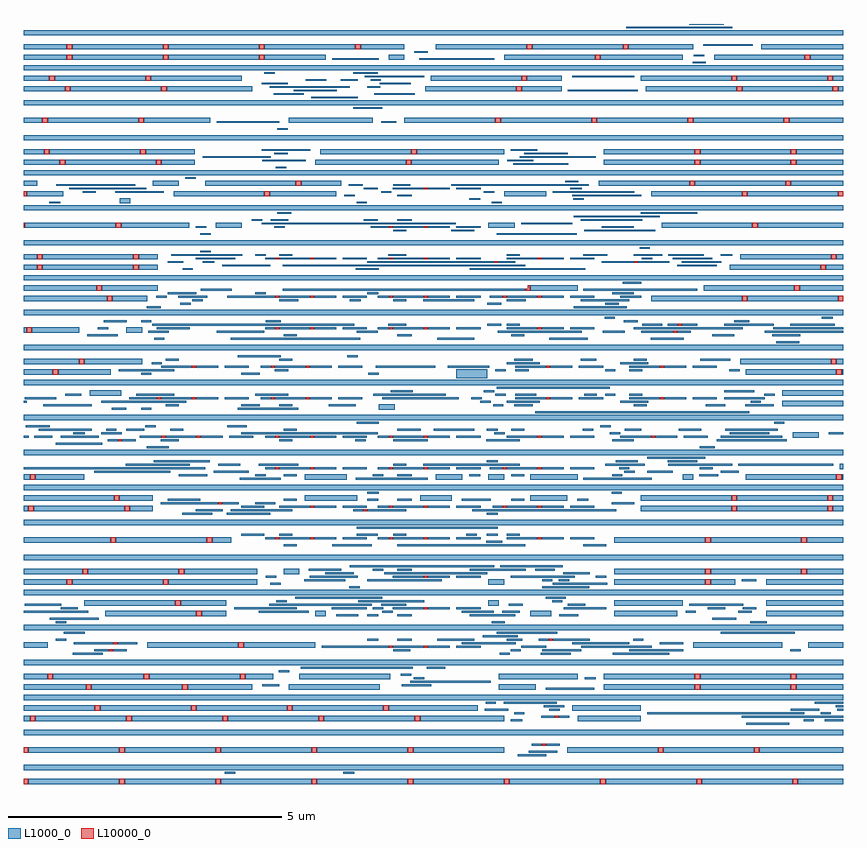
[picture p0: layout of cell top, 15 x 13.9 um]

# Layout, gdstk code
import gdstk
lib = gdstk.Library(unit=1e-6, precision=1e-09)
def R(c, l, rs):  # rectangles x0, y0, x1, y1
    for r in rs: c.add(gdstk.rectangle(r[:2], r[2:], *l))
def A(c, l, x, y, w, h, nx, ny, dx, dy):  # array of equal rectangles
    R(c, l, [(x+i*dx, y+j*dy, x+i*dx+w, y+j*dy+h) for i in range(nx) for j in range(ny)])
def P(c, l, *ps):  # polygons
    for p in ps: c.add(gdstk.Polygon(p, *l))
L1000_0 = (1000, 0)
L10000_0 = (10000, 0)

top = lib.new_cell('top')
A(top, L1000_0, 129.088, 262.096, 1.664, 0.02, 8, 1, 1.76, 0)
A(top, L1000_0, 129.088, 262.116, 1.664, 0.076, 8, 1, 1.76, 0)
A(top, L1000_0, 129, 262.352, 15, 0.096, 1, 22, 0, 0.64)
A(top, L1000_0, 129.088, 262.672, 1.664, 0.096, 5, 1, 1.76, 0)
A(top, L1000_0, 129.216, 263.248, 1.664, 0.096, 4, 1, 1.76, 0)
A(top, L1000_0, 130.4, 263.44, 1.664, 0.096, 3, 1, 1.76, 0)
A(top, L1000_0, 133.679, 266.576, 0.562, 0.032, 3, 2, 2.08, 0.576)
A(top, L1000_0, 134.319, 266.576, 0.402, 0.032, 3, 2, 2.08, 0.576)
A(top, L1000_0, 134.839, 266.576, 0.442, 0.032, 3, 2, 2.08, 0.576)
A(top, L1000_0, 133.68, 266.64, 0.24, 0.032, 3, 1, 2.08, 0)
A(top, L1000_0, 133.679, 267.856, 0.562, 0.032, 3, 2, 2.08, 2.56)
A(top, L1000_0, 134.319, 267.856, 0.402, 0.032, 3, 2, 2.08, 2.56)
A(top, L1000_0, 134.839, 267.856, 0.442, 0.032, 3, 2, 2.08, 2.56)
A(top, L1000_0, 131.599, 268.432, 0.562, 0.032, 5, 1, 2.08, 0)
A(top, L1000_0, 132.239, 268.432, 0.402, 0.032, 5, 1, 2.08, 0)
A(top, L1000_0, 132.759, 268.432, 0.442, 0.032, 5, 1, 2.08, 0)
A(top, L1000_0, 133.679, 270.992, 0.562, 0.032, 3, 2, 2.08, 0.704)
A(top, L1000_0, 134.319, 270.992, 0.402, 0.032, 3, 2, 2.08, 0.704)
A(top, L1000_0, 134.839, 270.992, 0.442, 0.032, 3, 2, 2.08, 0.704)
A(top, L1000_0, 135.968, 274.192, 1.664, 0.096, 4, 1, 1.76, 0)
A(top, L1000_0, 129.888, 275.536, 1.664, 0.096, 3, 1, 1.76, 0)
R(top, L1000_0, [(143.168,262.096,144,262.116), (143.168,262.116,144,262.192), (132.685,262.288,132.873,262.32), (134.845,262.288,135.049,262.32), (138.039,262.608,138.561,262.64), (138.239,262.672,138.761,262.704), (138.944,262.672,140.608,262.768), (140.704,262.672,142.368,262.768), (142.464,262.672,144,262.768), (138.295,262.8,138.483,262.832), (138.559,262.8,138.809,262.832), (142.221,263.184,143.009,263.216), (129,263.248,129.12,263.344), (136.256,263.248,137.792,263.344), (137.911,263.248,138.121,263.28), (139.136,263.248,140.288,263.344), (143.271,263.248,143.459,263.28), (143.661,263.248,144,263.28), (138.471,263.312,138.721,263.344), (138.791,263.312,138.979,263.344), (142.141,263.312,144,263.344), (137.975,263.376,138.163,263.408), (140.407,263.376,143.281,263.408), (143.581,263.376,143.769,263.408), (129,263.44,130.304,263.536), (135.68,263.44,137.312,263.536), (137.439,263.44,137.865,263.472), (138.615,263.44,138.809,263.472), (139.04,263.44,140.288,263.536), (143.039,263.44,143.561,263.472), (143.885,263.44,144,263.472), (138.519,263.504,138.889,263.536), (143.863,263.504,144,263.536), (137.455,263.568,137.643,263.6), (137.783,263.568,138.756,263.6), (143.479,263.568,144,263.6), (129,263.824,130.144,263.92), (130.24,263.824,131.904,263.92), (132,263.824,133.184,263.92), (133.856,263.824,135.52,263.92), (137.696,263.824,138.368,263.92), (138.551,263.824,139.441,263.856), (139.616,263.824,141.28,263.92), (141.376,263.824,143.04,263.92), (143.136,263.824,144,263.92), (133.367,263.888,133.681,263.92), (135.919,263.888,136.457,263.92), (136.079,263.952,137.545,263.984), (129,264.016,129.44,264.112), (129.536,264.016,131.2,264.112), (131.296,264.016,132.96,264.112), (133.056,264.016,133.568,264.112), (134.048,264.016,135.712,264.112), (136.141,264.016,136.329,264.048), (137.696,264.016,139.136,264.112), (139.271,264.016,139.465,264.048), (139.616,264.016,141.28,264.112), (141.376,264.016,143.04,264.112), (143.136,264.016,144,264.112), (135.901,264.08,136.089,264.112), (133.671,264.144,133.859,264.176), (134.071,264.208,136.116,264.24), (136.375,264.208,136.713,264.24), (129.901,264.464,130.449,264.496), (137.711,264.464,137.899,264.496), (138.461,264.464,139.009,264.496), (139.781,264.464,140.809,264.496), (130.295,264.528,130.561,264.56), (130.639,264.528,130.889,264.56), (135.76,264.528,136.073,264.56), (137.911,264.528,138.099,264.56), (138.487,264.528,139.201,264.56), (140.079,264.528,141.065,264.56), (143.031,264.528,143.219,264.56), (129,264.592,129.44,264.688), (131.264,264.592,132.928,264.688), (133.024,264.592,134.336,264.688), (134.455,264.592,135.681,264.624), (135.759,264.592,136.321,264.624), (136.399,264.592,136.801,264.624), (136.919,264.592,137.361,264.624), (138.103,264.592,138.561,264.624), (139.199,264.592,140.489,264.624), (141.248,264.592,142.88,264.688), (143.36,264.592,144,264.688), (129.919,264.656,130.641,264.688), (130.719,264.656,131.081,264.688), (137.015,264.656,138.001,264.688), (139.039,264.656,140.081,264.688), (140.639,264.656,141.065,264.688), (129.591,264.72,129.779,264.752), (135.287,264.72,135.489,264.752), (135.84,264.72,136.105,264.752), (136.567,264.72,137.241,264.752), (137.839,264.72,138.121,264.752), (138.421,264.72,138.609,264.752), (138.679,264.72,139.361,264.752), (140.151,264.72,140.339,264.752), (137.399,264.784,138.039,264.816), (129.733,264.848,130.121,264.88), (137.655,264.848,138.761,264.88), (141.751,264.848,143.113,264.88), (129.591,265.04,129.779,265.072), (137.565,265.04,137.801,265.072), (142.293,265.04,142.601,265.072), (129.479,265.104,130.377,265.136), (141.599,265.104,142.041,265.136), (130.496,265.168,132.16,265.264), (132.256,265.168,132.704,265.264), (134.336,265.168,134.528,265.264), (134.719,265.168,135.121,265.2), (135.287,265.168,135.489,265.2), (135.84,265.168,136.105,265.2), (137.159,265.168,137.993,265.2), (138.272,265.168,138.656,265.264), (138.799,265.168,139.145,265.2), (139.808,265.168,140.96,265.264), (142.592,265.168,144,265.264), (129,265.232,130.185,265.264), (133.303,265.232,134.217,265.264), (135.565,265.232,135.753,265.264), (137.015,265.232,137.601,265.264), (137.759,265.232,138.081,265.264), (141.111,265.232,141.299,265.264), (142.071,265.232,142.321,265.264), (129.679,265.296,129.993,265.328), (132.855,265.296,134.001,265.328), (134.639,265.296,135.281,265.328), (135.391,265.296,135.579,265.328), (135.759,265.296,136.321,265.328), (136.399,265.296,136.801,265.328), (136.919,265.296,137.361,265.328), (138.879,265.296,139.657,265.328), (141.519,265.296,141.833,265.328), (142.159,265.296,142.409,265.328), (129.021,265.36,129.689,265.392), (130.112,265.36,131.776,265.456), (131.872,265.36,132.704,265.456), (133.495,265.36,135.369,265.392), (135.543,265.36,136,265.392), (137.504,265.36,137.696,265.456), (137.879,265.36,138.129,265.392), (138.959,265.36,139.273,265.392), (139.808,265.36,141.056,265.456), (141.181,265.36,142.169,265.392), (142.592,265.36,144,265.456), (133.623,265.424,133.811,265.456), (135.119,265.424,136.329,265.456), (138.671,265.424,138.859,265.456), (133.973,265.488,135.561,265.52), (138.551,265.488,138.916,265.52), (134.959,265.68,135.147,265.712), (138.487,265.68,139.353,265.712), (129,265.744,129.792,265.84), (129.888,265.744,131.552,265.84), (131.648,265.744,133.28,265.84), (133.511,265.744,133.705,265.776), (137.504,265.744,137.792,265.84), (138.679,265.744,139.681,265.776), (139.808,265.744,141.472,265.84), (141.568,265.744,142.016,265.84), (142.592,265.744,144,265.84), (134.135,265.808,134.881,265.84), (135.287,265.808,136.649,265.84), (138.487,265.808,138.675,265.84), (138.791,265.808,138.979,265.84), (142.135,265.808,142.409,265.84), (133.431,265.872,133.619,265.904), (134.239,265.872,135.113,265.904), (135.759,265.872,136.321,265.904), (136.399,265.872,136.801,265.904), (136.919,265.872,137.361,265.904), (137.911,265.872,139.081,265.904), (139.469,265.872,139.657,265.904), (129,265.936,130.08,266.032), (130.176,265.936,131.84,266.032), (131.936,265.936,133.28,266.032), (133.76,265.936,134.048,266.032), (134.519,265.936,135.041,265.968), (135.599,265.936,137.481,265.968), (138.871,265.936,139.361,265.968), (139.808,265.936,141.472,266.032), (141.568,265.936,143.232,266.032), (143.328,265.936,144,266.032), (134.221,266,134.809,266.032), (135.391,266,135.579,266.032), (135.84,266,136.105,266.032), (137.159,266,138.185,266.032), (138.359,266,138.721,266.032), (134.967,266.064,137.609,266.096), (137.719,266.064,138.864,266.096), (133.76,266.448,134,266.48), (134.647,266.448,135.369,266.48), (135.84,266.448,138.176,266.48), (139.239,266.448,139.657,266.48), (129,266.512,130.592,266.608), (130.688,266.512,132.352,266.608), (132.448,266.512,132.8,266.608), (137.463,266.512,137.761,266.544), (139.808,266.512,141.472,266.608), (141.568,266.512,143.232,266.608), (143.328,266.512,144,266.608), (133.421,266.576,133.609,266.608), (135.479,266.576,135.689,266.608), (132.983,266.64,133.401,266.672), (135.095,266.64,135.481,266.672), (137.101,266.64,137.289,266.672), (137.471,266.64,137.673,266.672), (135.095,266.768,137.673,266.8), (131.901,267.024,132.449,267.056), (132.719,267.024,133.513,267.056), (137.471,267.024,137.673,267.056), (129,267.088,129.088,267.184), (129.184,267.088,130.848,267.184), (130.944,267.088,131.36,267.184), (132.151,267.088,132.641,267.12), (132.791,267.088,133.92,267.12), (135.029,267.088,135.217,267.12), (135.287,267.088,136,267.12), (137.207,267.088,139.841,267.12), (140.288,267.088,141.952,267.184), (142.048,267.088,143.712,267.184), (143.808,267.088,144,267.184), (132.983,267.152,133.401,267.184), (135.479,267.152,135.689,267.184), (137.581,267.152,137.769,267.184), (131.511,267.216,132.561,267.248), (132.639,267.216,132.937,267.248), (133.239,267.216,133.601,267.248), (139.759,267.216,140.169,267.248), (129,267.28,130.656,267.376), (130.752,267.28,131.36,267.376), (131.639,267.28,132.233,267.312), (133.76,267.28,134,267.312), (134.144,267.28,135.104,267.376), (135.287,267.28,135.489,267.312), (135.84,267.28,136.105,267.312), (136.256,267.28,136.832,267.376), (137.015,267.28,137.545,267.312), (137.92,267.28,138.16,267.312), (138.272,267.28,138.944,267.376), (139.127,267.28,139.329,267.312), (140.288,267.28,141.952,267.376), (142.048,267.28,143.712,267.376), (143.808,267.28,144,267.376), (135.287,267.408,135.497,267.44), (139.759,267.408,139.947,267.44), (129,267.664,129.12,267.76), (129.216,267.664,130.112,267.76), (132.959,267.664,133.705,267.696), (134.144,267.664,134.912,267.76), (135.079,267.664,136.393,267.696), (136.544,267.664,137.024,267.76), (137.504,267.664,137.792,267.76), (138.272,267.664,139.136,267.76), (139.239,267.664,140.489,267.696), (141.056,267.664,141.248,267.76), (142.208,267.664,143.872,267.76), (143.968,267.664,144,267.76), (131.839,267.728,132.361,267.76), (133.239,267.728,133.427,267.76), (133.76,267.728,134,267.76), (135.391,267.728,135.579,267.76), (135.84,267.728,136.105,267.76), (137.151,267.728,137.353,267.76), (137.92,267.728,138.16,267.76), (139.767,267.728,139.955,267.76), (141.359,267.728,141.705,267.76), (130.295,267.792,131.681,267.824), (132.479,267.792,133.121,267.824), (139.991,267.792,140.179,267.824), (140.407,267.792,140.881,267.824), (141.751,267.792,142.081,267.824), (129,267.856,132.321,267.888), (133.421,267.856,133.609,267.888), (135.479,267.856,135.689,267.888), (137.527,267.856,137.769,267.888), (139.895,267.856,140.083,267.888), (141.367,267.856,141.609,267.888), (143.936,267.856,144,267.952), (130.871,267.92,132.041,267.952), (132.559,267.92,132.961,267.952), (133.303,267.92,134.025,267.952), (135.76,267.92,136,267.952), (136.311,267.92,138.08,267.952), (139.639,267.92,140.361,267.952), (140.791,267.92,141.961,267.952), (142.079,267.92,143.817,267.952), (131.381,267.984,132.409,268.016), (137.471,267.984,137.673,268.016), (139.831,267.984,140.241,268.016), (140.781,267.984,141.329,268.016), (140.407,268.048,141.476,268.08), (131.255,268.24,131.657,268.272), (141.367,268.24,141.641,268.272), (129.591,268.304,130.441,268.336), (130.541,268.368,130.729,268.4), (130.799,268.368,131.049,268.4), (131.511,268.368,131.84,268.4), (133.68,268.368,133.92,268.4), (135.071,268.368,135.259,268.4), (135.76,268.368,136.393,268.4), (137.463,268.368,138.08,268.4), (139.767,268.368,140.16,268.4), (141.679,268.368,142.961,268.4), (129,268.432,129.097,268.464), (129.199,268.432,129.521,268.464), (129.679,268.432,130.377,268.464), (131.127,268.432,131.521,268.464), (133.421,268.432,133.609,268.464), (135.479,268.432,135.689,268.464), (141.759,268.432,142.881,268.464), (143.072,268.432,143.552,268.528), (129.911,268.496,130.121,268.528), (130.423,268.496,130.801,268.528), (132.983,268.496,135.481,268.528), (137.613,268.496,137.801,268.528), (139.725,268.496,139.913,268.528), (141.919,268.496,142.641,268.528), (143.735,268.496,144,268.528), (129.279,268.56,130.249,268.592), (130.509,268.56,130.697,268.592), (130.879,268.56,131.209,268.592), (131.68,268.56,131.92,268.592), (133.76,268.56,134,268.592), (135.84,268.56,136.265,268.592), (136.503,268.56,137.241,268.592), (137.471,268.56,137.673,268.592), (137.92,268.56,138.16,268.592), (139.231,268.56,139.419,268.592), (140,268.56,140.297,268.592), (140.983,268.56,141.401,268.592), (141.839,268.56,142.801,268.592), (129.039,268.624,129.481,268.656), (131.231,268.624,131.419,268.656), (132.727,268.624,133.081,268.656), (139.551,268.624,139.739,268.656), (135.095,268.688,135.497,268.72), (142.733,268.688,142.921,268.72), (138.359,268.88,142.281,268.912), (130.615,268.944,130.881,268.976), (131.151,268.944,131.339,268.976), (132.919,268.944,134.025,268.976), (135.496,268.944,135.792,269.04), (129.359,269.008,130.249,269.04), (131.6,269.008,131.84,269.04), (132.983,269.008,133.321,269.04), (133.68,269.008,133.92,269.04), (134.583,269.008,135.081,269.04), (137.591,269.008,137.779,269.04), (137.975,269.008,138.32,269.04), (140.16,269.008,140.4,269.04), (141.479,269.008,141.833,269.04), (142.199,269.008,142.721,269.04), (142.88,269.008,144,269.104), (129,269.072,129.059,269.104), (130.423,269.072,131.977,269.104), (137.351,269.072,137.545,269.104), (137.839,269.072,138.441,269.104), (139.919,269.072,140.425,269.104), (142.301,269.072,142.489,269.104), (129.021,269.136,129.601,269.168), (130.935,269.136,131.441,269.168), (131.519,269.136,132.081,269.168), (132.159,269.136,132.561,269.168), (132.679,269.136,133.121,269.168), (133.341,269.136,133.529,269.168), (133.599,269.136,134.161,269.168), (134.239,269.136,134.641,269.168), (134.759,269.136,135.201,269.168), (135.558,269.136,136.961,269.168), (137.191,269.136,137.379,269.168), (137.999,269.136,138.561,269.168), (138.639,269.136,139.041,269.168), (139.159,269.136,139.601,269.168), (140.079,269.136,140.641,269.168), (140.719,269.136,141.121,269.168), (141.239,269.136,141.681,269.168), (141.815,269.136,142.561,269.168), (129.759,269.2,130.057,269.232), (130.208,269.2,130.784,269.296), (131.063,269.2,131.76,269.232), (133.239,269.2,133.84,269.232), (135.399,269.2,136.721,269.232), (137.631,269.2,137.819,269.232), (138,269.2,138.377,269.232), (139.255,269.2,139.489,269.232), (139.639,269.2,139.827,269.232), (140.08,269.2,140.32,269.232), (142.551,269.2,142.739,269.232), (142.88,269.2,144,269.296), (135.719,269.264,136.121,269.296), (137.421,269.264,137.609,269.296), (141.821,269.264,142.369,269.296), (137.655,269.328,139.721,269.36), (136.92,269.52,137.479,269.68), (129,269.584,129.536,269.68), (129.632,269.584,130.592,269.68), (131.149,269.584,131.337,269.616), (132.983,269.584,133.321,269.616), (135.309,269.584,135.497,269.616), (142.208,269.584,143.872,269.68), (143.968,269.584,144,269.68), (130.743,269.648,131.76,269.68), (133.6,269.648,133.84,269.68), (137.631,269.648,137.819,269.68), (138,269.648,138.24,269.68), (139.639,269.648,139.827,269.68), (140.08,269.648,140.32,269.68), (141.911,269.648,142.099,269.68), (131.519,269.712,132.081,269.744), (132.159,269.712,132.561,269.744), (132.679,269.712,133.121,269.744), (133.341,269.712,133.529,269.744), (133.599,269.712,134.161,269.744), (134.239,269.712,134.641,269.744), (134.759,269.712,135.201,269.744), (135.439,269.712,136.528,269.744), (136.758,269.712,137.521,269.744), (137.999,269.712,138.561,269.744), (138.639,269.712,139.041,269.744), (139.159,269.712,139.601,269.744), (140.079,269.712,140.641,269.744), (140.719,269.712,141.121,269.744), (141.239,269.712,141.681,269.744), (129,269.776,130.016,269.872), (130.112,269.776,131.168,269.872), (131.341,269.776,131.529,269.808), (137.839,269.776,138.441,269.808), (139.919,269.776,140.425,269.808), (142.112,269.776,143.776,269.872), (143.872,269.776,144,269.872), (131.6,269.84,131.84,269.872), (133.68,269.84,133.92,269.872), (137.975,269.84,138.32,269.872), (139.191,269.84,139.481,269.872), (140.16,269.84,140.4,269.872), (141.381,269.84,141.929,269.872), (132.919,269.904,133.705,269.936), (134.925,269.904,135.113,269.936), (142.775,270.16,143.193,270.192), (131.389,270.224,131.577,270.256), (132.791,270.224,135.161,270.256), (136.567,270.224,137.241,270.256), (138.615,270.224,139.321,270.256), (140.471,270.224,141.079,270.256), (130.167,270.288,130.721,270.32), (133.76,270.288,134,270.32), (135.84,270.288,136.105,270.32), (137.92,270.288,138.16,270.32), (141.599,270.288,142.001,270.32), (142.701,270.288,143.209,270.32), (129,270.352,129.056,270.448), (129.152,270.352,130.016,270.448), (130.88,270.352,131.168,270.448), (131.279,270.352,131.657,270.384), (132.535,270.352,133.401,270.384), (135.095,270.352,135.481,270.384), (137.679,270.352,139.209,270.384), (139.599,270.352,140.001,270.384), (140.301,270.352,140.889,270.384), (140.959,270.352,141.209,270.384), (142.559,270.352,144,270.384), (130.359,270.416,130.547,270.448), (131.439,270.416,132.041,270.448), (133.421,270.416,133.609,270.448), (135.479,270.416,135.689,270.448), (140.159,270.416,142.161,270.448), (142.719,270.416,144,270.448), (131.359,270.48,135.049,270.512), (135.671,270.48,136,270.512), (137.479,270.48,137.737,270.512), (137.84,270.48,138.08,270.512), (140.319,270.48,140.681,270.512), (140.781,270.48,140.969,270.512), (141.039,270.48,141.321,270.512), (141.815,270.48,142.721,270.512), (143.031,270.48,143.841,270.512), (130.463,270.544,130.889,270.576), (131.149,270.544,131.337,270.576), (133.431,270.544,133.705,270.576), (139.983,270.544,140.233,270.576), (141.999,270.544,142.281,270.576), (139.631,270.608,139.819,270.64), (143.607,270.608,143.804,270.64), (131.255,270.8,131.513,270.832), (139.063,270.8,140.036,270.832), (131.871,270.864,132.059,270.896), (137.479,270.864,137.737,270.896), (139.639,270.864,139.889,270.896), (129,270.928,130.528,271.024), (130.624,270.928,131.264,271.024), (132.087,270.928,132.275,270.96), (133.68,270.928,134.025,270.96), (134.967,270.928,135.169,270.96), (135.76,270.928,136,270.96), (136.311,270.928,137.241,270.96), (137.84,270.928,138.185,270.96), (139.191,270.928,140.081,270.96), (140.48,270.928,142.144,271.024), (142.24,270.928,143.904,271.024), (131.431,270.992,131.619,271.024), (131.831,270.992,132.361,271.024), (132.727,270.992,133.601,271.024), (135.479,270.992,135.689,271.024), (137.527,270.992,137.769,271.024), (139.919,270.992,140.297,271.024), (131.639,271.056,132.161,271.088), (133.239,271.056,133.427,271.088), (135.287,271.056,135.489,271.088), (139.767,271.056,140.161,271.088), (129,271.12,130.336,271.216), (130.432,271.12,131.456,271.216), (132.239,271.12,132.809,271.152), (133.744,271.12,138.176,271.152), (138.272,271.12,139.136,271.216), (139.239,271.12,141.321,271.152), (141.44,271.12,143.104,271.216), (143.2,271.12,144,271.216), (139.959,271.248,140.297,271.28), (129,271.504,129.248,271.6), (129.344,271.504,131.008,271.6), (131.104,271.504,131.456,271.6), (131.911,271.504,132.099,271.536), (135.079,271.504,135.497,271.536), (137.159,271.504,139.273,271.536), (141.92,271.504,143.584,271.6), (143.68,271.504,144,271.6), (132.639,271.568,133.513,271.6), (133.744,271.568,138.176,271.6), (140.959,271.568,141.681,271.6), (131.639,271.632,131.921,271.664), (132.279,271.632,132.489,271.664), (135.287,271.632,137.609,271.664), (137.679,271.632,137.993,271.664), (139.581,271.632,140.169,271.664), (140.239,271.632,140.809,271.664), (141.039,271.632,141.761,271.664), (129,271.696,129.248,271.792), (129.344,271.696,131.008,271.792), (131.104,271.696,131.456,271.792), (132.151,271.696,132.873,271.728), (133.421,271.696,133.609,271.728), (135.479,271.696,135.689,271.728), (140.311,271.696,140.499,271.728), (140.879,271.696,141.601,271.728), (142.112,271.696,143.776,271.792), (143.872,271.696,144,271.792), (131.703,271.76,133.001,271.792), (133.239,271.76,133.427,271.792), (133.68,271.76,133.92,271.792), (135.671,271.76,136,271.792), (137.84,271.76,138.08,271.792), (139.239,271.76,139.681,271.792), (140.159,271.76,140.681,271.792), (140.799,271.76,141.441,271.792), (141.751,271.76,141.961,271.792), (132.237,271.824,132.425,271.856), (140.271,271.888,140.459,271.92), (132.231,272.144,132.425,272.176), (137.655,272.144,139.121,272.176), (135.76,272.208,136,272.24), (136.823,272.208,137.241,272.24), (139.255,272.208,140.561,272.24), (129.024,272.272,130.688,272.368), (130.784,272.272,132.032,272.368), (132.151,272.272,132.339,272.304), (132.512,272.272,132.992,272.368), (133.591,272.272,133.779,272.304), (135.351,272.272,135.681,272.304), (135.759,272.272,136.321,272.304), (136.399,272.272,136.801,272.304), (136.919,272.272,137.361,272.304), (137.504,272.272,137.984,272.368), (139.575,272.272,140.161,272.304), (140.672,272.272,142.336,272.368), (142.432,272.272,144,272.368), (133.359,272.336,136.905,272.368), (138.103,272.336,139.041,272.368), (133.175,272.4,133.363,272.432), (133.519,272.4,133.841,272.432), (135.223,272.4,135.481,272.432), (135.84,272.4,136.105,272.432), (139.191,272.4,140.321,272.432), (139.063,272.464,140.641,272.496), (133.646,272.528,133.897,272.56), (140.293,272.528,141.321,272.56), (129.471,272.72,129.673,272.752), (130.76,272.72,130.952,272.816), (135.095,272.72,135.283,272.752), (137.565,272.72,137.753,272.752), (137.151,272.784,137.353,272.816), (139.059,272.784,139.247,272.816), (129.056,272.848,129.728,272.944), (131.744,272.848,133.408,272.944), (133.504,272.848,134.72,272.944), (134.871,272.848,135.059,272.88), (135.84,272.848,136.105,272.88), (137.792,272.848,138.56,272.944), (139.039,272.848,140.297,272.88), (140.48,272.848,142.144,272.944), (142.24,272.848,143.904,272.944), (130.08,272.912,130.32,272.944), (130.679,272.912,131.561,272.944), (135.543,272.912,135.731,272.944), (137.421,272.912,137.609,272.944), (138.679,272.912,140.169,272.944), (129.839,272.976,131.241,273.008), (135.223,272.976,135.481,273.008), (135.759,272.976,136.321,273.008), (136.399,272.976,136.801,273.008), (136.919,272.976,137.361,273.008), (138.999,272.976,139.209,273.008), (129,273.04,129.248,273.136), (129.599,273.04,131.041,273.072), (131.36,273.04,131.84,273.136), (132.32,273.04,133.984,273.136), (134.08,273.04,134.816,273.136), (134.951,273.04,135.209,273.072), (135.76,273.04,136.073,273.072), (136.823,273.04,139.337,273.072), (139.52,273.04,141.184,273.136), (141.28,273.04,142.944,273.136), (143.04,273.04,144,273.136), (138.911,273.104,139.145,273.136), (131.959,273.168,132.147,273.2), (133.615,273.36,133.803,273.392), (129,273.424,129.664,273.52), (129.76,273.424,131.424,273.52), (131.52,273.424,132.128,273.52), (134.336,273.424,136,273.52), (136.096,273.424,137.696,273.52), (137.959,273.424,138.961,273.456), (139.616,273.424,141.28,273.52), (141.376,273.424,143.04,273.52), (143.136,273.424,144,273.52), (133.367,273.488,134.161,273.52), (137.847,273.488,138.321,273.52), (132.279,273.552,133.521,273.584), (138.079,273.552,139.465,273.584), (129,273.616,129.376,273.712), (129.472,273.616,131.136,273.712), (131.232,273.616,132.128,273.712), (133.591,273.616,133.833,273.648), (134.432,273.616,136.096,273.712), (136.192,273.616,137.792,273.712), (138.159,273.616,138.953,273.648), (139.616,273.616,141.28,273.712), (141.376,273.616,143.04,273.712), (143.136,273.616,144,273.712), (133.359,273.68,134.241,273.712), (137.911,273.68,138.401,273.712), (133.645,274.064,133.833,274.096), (129,274.192,129.344,274.288), (129.44,274.192,131.104,274.288), (131.2,274.192,132.416,274.288), (132.535,274.192,133.681,274.224), (133.856,274.192,135.392,274.288), (135.543,274.192,135.817,274.224), (143.008,274.192,144,274.288), (135.031,274.448,135.561,274.48), (134.263,274.64,135.113,274.672), (133.581,274.704,134.129,274.736), (135.415,274.704,136.161,274.736), (129,274.768,129.76,274.864), (129.856,274.768,131.52,274.864), (131.616,274.768,133.184,274.864), (133.943,274.768,134.729,274.8), (136.352,274.768,138.016,274.864), (138.112,274.768,138.848,274.864), (138.959,274.768,140.233,274.8), (140.384,274.768,142.048,274.864), (142.144,274.768,143.808,274.864), (143.904,274.768,144,274.864), (133.501,274.832,134.969,274.864), (135.287,274.832,135.529,274.864), (133.359,274.896,133.833,274.928), (135.519,274.896,136.081,274.928), (129,274.96,129.472,275.056), (129.568,274.96,131.232,275.056), (131.328,274.96,132.992,275.056), (134.159,274.96,134.537,274.992), (134.799,274.96,135.113,274.992), (135.351,274.96,135.539,274.992), (136.448,274.96,138.112,275.056), (138.208,274.96,138.848,275.056), (140.288,274.96,141.952,275.056), (142.048,274.96,143.712,275.056), (143.808,274.96,144,275.056), (135.239,275.024,136.329,275.056), (139.039,275.024,140.169,275.056), (133.405,275.088,133.593,275.12), (135.031,275.088,135.476,275.12), (141.239,275.28,141.484,275.312), (129,275.344,129.792,275.44), (129.888,275.344,131.552,275.44), (131.648,275.344,133.312,275.44), (133.408,275.344,134.528,275.44), (134.647,275.344,135.497,275.376), (135.68,275.344,135.968,275.44), (136.239,275.344,137.609,275.376), (137.792,275.344,139.456,275.44), (139.552,275.344,141.056,275.44), (141.632,275.344,143.296,275.44), (143.392,275.344,144,275.44), (141.261,275.408,141.449,275.44), (136.151,275.472,136.393,275.504), (129,275.536,129.792,275.632), (135.168,275.536,135.968,275.632), (136.544,275.536,138.208,275.632), (138.304,275.536,139.968,275.632), (140.064,275.536,141.248,275.632), (142.496,275.536,144,275.632), (141.439,275.6,142.345,275.632), (140.023,275.92,141.961,275.952), (141.181,275.984,141.809,276)])
A(top, L10000_0, 130.752, 262.096, 0.096, 0.02, 8, 1, 1.76, 0)
A(top, L10000_0, 130.752, 262.116, 0.096, 0.076, 8, 1, 1.76, 0)
A(top, L10000_0, 130.752, 262.672, 0.096, 0.096, 4, 1, 1.76, 0)
A(top, L10000_0, 129.12, 263.248, 0.096, 0.096, 5, 1, 1.76, 0)
A(top, L10000_0, 130.304, 263.44, 0.096, 0.096, 4, 1, 1.76, 0)
A(top, L10000_0, 129.44, 264.016, 0.096, 0.096, 3, 1, 1.76, 0)
A(top, L10000_0, 134.241, 266.576, 0.078, 0.032, 3, 2, 2.08, 0.576)
A(top, L10000_0, 133.609, 267.856, 0.07, 0.032, 3, 1, 2.08, 0)
A(top, L10000_0, 134.241, 267.856, 0.078, 0.032, 3, 2, 2.08, 2.56)
A(top, L10000_0, 132.161, 268.432, 0.078, 0.032, 5, 1, 2.08, 0)
A(top, L10000_0, 134.241, 270.992, 0.078, 0.032, 3, 2, 2.08, 0.704)
A(top, L10000_0, 137.632, 274.192, 0.096, 0.096, 4, 1, 1.76, 0)
A(top, L10000_0, 129.792, 275.344, 0.096, 0.096, 3, 1, 1.76, 0)
A(top, L10000_0, 129.792, 275.536, 0.096, 0.096, 4, 1, 1.76, 0)
R(top, L10000_0, [(129,262.096,129.088,262.116), (129,262.116,129.088,262.192), (129,262.672,129.088,262.768), (140.608,262.672,140.704,262.768), (142.368,262.672,142.464,262.768), (138.483,262.8,138.559,262.832), (138.721,263.312,138.791,263.344), (130.144,263.824,130.24,263.92), (131.904,263.824,132,263.92), (141.28,263.824,141.376,263.92), (143.04,263.824,143.136,263.92), (141.28,264.016,141.376,264.112), (143.04,264.016,143.136,264.112), (130.561,264.528,130.639,264.56), (132.928,264.592,133.024,264.688), (135.681,264.592,135.759,264.624), (136.321,264.592,136.399,264.624), (130.641,264.656,130.719,264.688), (138.609,264.72,138.679,264.752), (132.16,265.168,132.256,265.264), (136.321,265.296,136.399,265.328), (131.776,265.36,131.872,265.456), (129.792,265.744,129.888,265.84), (131.552,265.744,131.648,265.84), (141.472,265.744,141.568,265.84), (136.321,265.872,136.399,265.904), (130.08,265.936,130.176,266.032), (131.84,265.936,131.936,266.032), (141.472,265.936,141.568,266.032), (143.232,265.936,143.328,266.032), (130.592,266.512,130.688,266.608), (132.352,266.512,132.448,266.608), (141.472,266.512,141.568,266.608), (143.232,266.512,143.328,266.608), (133.609,266.576,133.679,266.608), (135.689,266.576,135.759,266.608), (129.088,267.088,129.184,267.184), (130.848,267.088,130.944,267.184), (135.217,267.088,135.287,267.12), (141.952,267.088,142.048,267.184), (143.712,267.088,143.808,267.184), (135.689,267.152,135.759,267.184), (137.769,267.152,137.839,267.184), (132.561,267.216,132.639,267.248), (130.656,267.28,130.752,267.376), (141.952,267.28,142.048,267.376), (143.712,267.28,143.808,267.376), (129.12,267.664,129.216,267.76), (143.872,267.664,143.968,267.76), (130.729,268.368,130.799,268.4), (131.521,268.432,131.599,268.464), (133.609,268.432,133.679,268.464), (135.689,268.432,135.759,268.464), (131.441,269.136,131.519,269.168), (132.081,269.136,132.159,269.168), (133.529,269.136,133.599,269.168), (134.161,269.136,134.239,269.168), (138.561,269.136,138.639,269.168), (140.641,269.136,140.719,269.168), (129.536,269.584,129.632,269.68), (143.872,269.584,143.968,269.68), (132.081,269.712,132.159,269.744), (133.529,269.712,133.599,269.744), (134.161,269.712,134.239,269.744), (138.561,269.712,138.639,269.744), (140.641,269.712,140.719,269.744), (130.016,269.776,130.112,269.872), (143.776,269.776,143.872,269.872), (129.056,270.352,129.152,270.448), (140.889,270.352,140.959,270.384), (133.609,270.416,133.679,270.448), (135.689,270.416,135.759,270.448), (140.969,270.48,141.039,270.512), (130.528,270.928,130.624,271.024), (142.144,270.928,142.24,271.024), (143.904,270.928,144,271.024), (133.601,270.992,133.679,271.024), (135.689,270.992,135.759,271.024), (137.769,270.992,137.839,271.024), (130.336,271.12,130.432,271.216), (143.104,271.12,143.2,271.216), (129.248,271.504,129.344,271.6), (131.008,271.504,131.104,271.6), (143.584,271.504,143.68,271.6), (137.609,271.632,137.679,271.664), (140.169,271.632,140.239,271.664), (129.248,271.696,129.344,271.792), (131.008,271.696,131.104,271.792), (133.609,271.696,133.679,271.728), (135.689,271.696,135.759,271.728), (143.776,271.696,143.872,271.792), (129,272.272,129.024,272.368), (130.688,272.272,130.784,272.368), (135.681,272.272,135.759,272.304), (136.321,272.272,136.399,272.304), (142.336,272.272,142.432,272.368), (129,272.848,129.056,272.944), (133.408,272.848,133.504,272.944), (142.144,272.848,142.24,272.944), (143.904,272.848,144,272.944), (136.321,272.976,136.399,273.008), (133.984,273.04,134.08,273.136), (141.184,273.04,141.28,273.136), (142.944,273.04,143.04,273.136), (129.664,273.424,129.76,273.52), (131.424,273.424,131.52,273.52), (136,273.424,136.096,273.52), (141.28,273.424,141.376,273.52), (143.04,273.424,143.136,273.52), (129.376,273.616,129.472,273.712), (131.136,273.616,131.232,273.712), (136.096,273.616,136.192,273.712), (141.28,273.616,141.376,273.712), (143.04,273.616,143.136,273.712), (129.344,274.192,129.44,274.288), (131.104,274.192,131.2,274.288), (129.76,274.768,129.856,274.864), (131.52,274.768,131.616,274.864), (138.016,274.768,138.112,274.864), (142.048,274.768,142.144,274.864), (143.808,274.768,143.904,274.864), (129.472,274.96,129.568,275.056), (131.232,274.96,131.328,275.056), (138.112,274.96,138.208,275.056), (141.952,274.96,142.048,275.056), (143.712,274.96,143.808,275.056), (139.456,275.344,139.552,275.44), (143.296,275.344,143.392,275.44), (138.208,275.536,138.304,275.632), (139.968,275.536,140.064,275.632)])
P(top, L10000_0, [(138.176,271.12),(138.272,271.12),(138.272,271.216),(138.222,271.216),(138.222,271.152),(138.176,271.152)])

lib.write_gds('top.gds')
